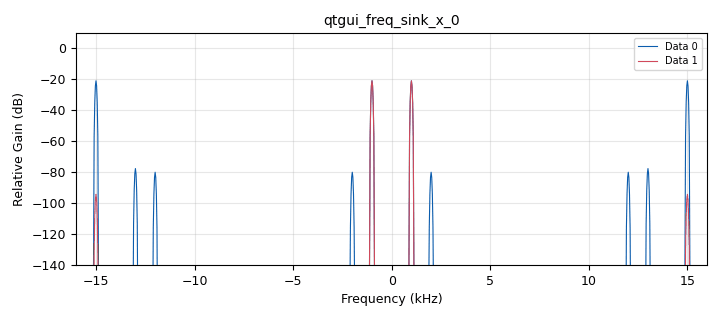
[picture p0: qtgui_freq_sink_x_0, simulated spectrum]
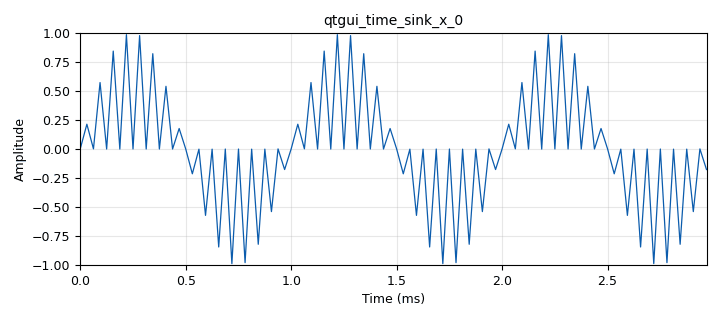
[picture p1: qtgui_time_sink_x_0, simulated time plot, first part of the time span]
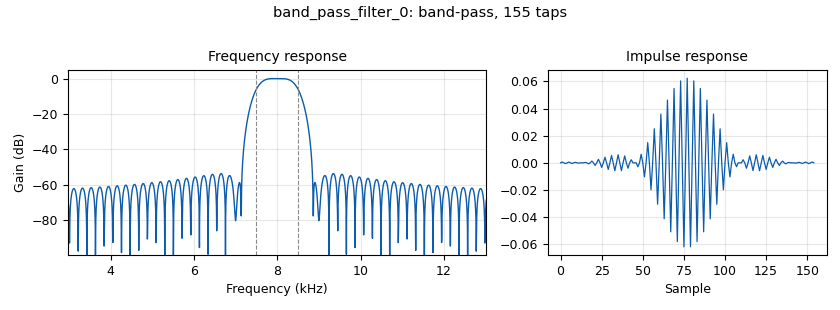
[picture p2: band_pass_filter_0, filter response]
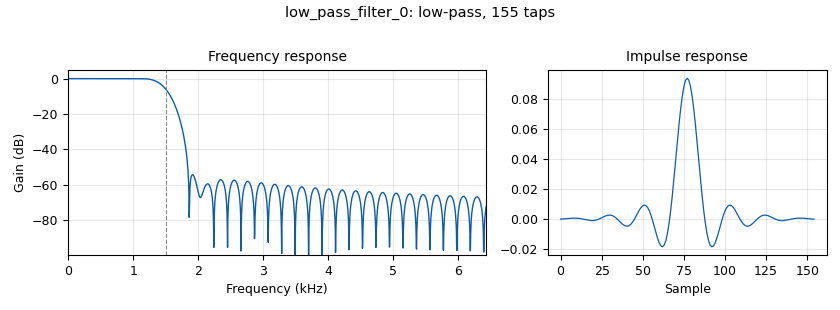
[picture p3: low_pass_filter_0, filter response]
options:
  parameters:
    author: PC-Admin
    generate_options: qt_gui
    id: heterodyne_receiver
    output_language: python
    title: Not titled yet
  states: {}

blocks:
- name: samp_rate
  id: variable
  parameters:
    value: '32000'
  states: {}
- name: analog_sig_source_x_0
  id: analog_sig_source_x
  parameters:
    amp: '1'
    freq: '5000'
    offset: '0'
    phase: '0'
    samp_rate: samp_rate
    type: float
    waveform: analog.GR_COS_WAVE
  states: {}
- name: analog_sig_source_x_1
  id: analog_sig_source_x
  parameters:
    amp: '1'
    freq: '7000'
    offset: '0'
    phase: '0'
    samp_rate: samp_rate
    type: float
    waveform: analog.GR_COS_WAVE
  states: {}
- name: analog_sig_source_x_2
  id: analog_sig_source_x
  parameters:
    amp: '1'
    freq: '8000'
    offset: '0'
    phase: '0'
    samp_rate: samp_rate
    type: float
    waveform: analog.GR_COS_WAVE
  states: {}
- name: analog_sig_source_x_3
  id: analog_sig_source_x
  parameters:
    amp: '1'
    freq: '6000'
    offset: '0'
    phase: '0'
    samp_rate: samp_rate
    type: float
    waveform: analog.GR_COS_WAVE
  states: {}
- name: band_pass_filter_0
  id: band_pass_filter
  parameters:
    decim: '1'
    gain: '1'
    high_cutoff_freq: '8500'
    low_cutoff_freq: '7500'
    samp_rate: samp_rate
    type: fir_filter_fff
    width: '500'
    win: window.WIN_HAMMING
  states: {}
- name: blocks_add_xx_0
  id: blocks_add_xx
  parameters:
    num_inputs: '3'
    type: float
  states: {}
- name: blocks_multiply_xx_0
  id: blocks_multiply_xx
  parameters:
    type: float
  states: {}
- name: blocks_throttle2_0
  id: blocks_throttle2
  parameters:
    samples_per_second: samp_rate
    type: float
  states: {}
- name: low_pass_filter_0
  id: low_pass_filter
  parameters:
    cutoff_freq: '1500'
    decim: '1'
    gain: '1'
    samp_rate: samp_rate
    type: fir_filter_fff
    width: '500'
    win: window.WIN_HAMMING
  states: {}
- name: qtgui_freq_sink_x_0
  id: qtgui_freq_sink_x
  parameters:
    bw: samp_rate
    fc: '0'
    fftsize: '1024'
    nconnections: '2'
    type: float
  states: {}
- name: qtgui_time_sink_x_0
  id: qtgui_time_sink_x
  parameters:
    size: '256'
    srate: samp_rate
    type: float
  states: {}

connections:
- [analog_sig_source_x_0, '0', blocks_add_xx_0, '1']
- [analog_sig_source_x_1, '0', blocks_multiply_xx_0, '1']
- [analog_sig_source_x_2, '0', blocks_add_xx_0, '0']
- [analog_sig_source_x_3, '0', blocks_add_xx_0, '2']
- [band_pass_filter_0, '0', blocks_multiply_xx_0, '0']
- [blocks_add_xx_0, '0', band_pass_filter_0, '0']
- [blocks_multiply_xx_0, '0', blocks_throttle2_0, '0']
- [blocks_throttle2_0, '0', low_pass_filter_0, '0']
- [blocks_throttle2_0, '0', qtgui_freq_sink_x_0, '0']
- [blocks_throttle2_0, '0', qtgui_time_sink_x_0, '0']
- [low_pass_filter_0, '0', qtgui_freq_sink_x_0, '1']

metadata:
  file_format: 1
  grc_version: 3.10.12.0
